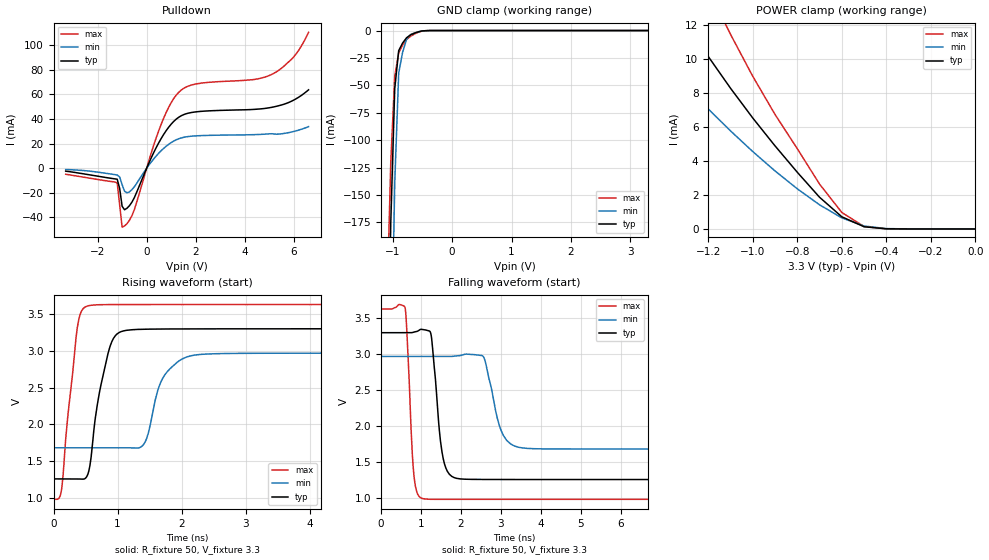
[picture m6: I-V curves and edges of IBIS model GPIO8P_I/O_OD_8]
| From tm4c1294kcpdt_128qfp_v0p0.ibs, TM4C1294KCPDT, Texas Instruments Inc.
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|   Model Cell GPIO8P_I/O_OD_8
[Model]   GPIO8P_I/O_OD_8
Model_type   I/O_open_drain
Polarity   Inverting
Enable   Active-Low
Vinl =  0.8
Vinh =  2
Cref =  15.0000pF
Rref =  100.0000M
Vref =  0V
Vmeas =  1.65
C_comp   5.378567p   4.597605p   6.118031p
[Model Spec]
Vinl   0.8   0.8   0.8
Vinh   2   2   2
[Temperature Range]   25   125   -40
[Voltage Range]   3.3   2.97   3.63
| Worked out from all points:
|   slope of the pulldown table from 0 to 0.495 V, typ, clamps not added: 23.8 ohm
|   GND clamp passes 1 mA (typ) near -0.55 V on its own axis
|   POWER clamp passes 1 mA (typ) near -0.62 V on its own axis
|   rising waveform, R_fixture 50, V_fixture 3.3: 20-80 % time 230ps typ, 276ps min, 176ps max; typ from 1.26 V to 3.3 V
|   falling waveform, R_fixture 50, V_fixture 3.3: 20-80 % time 198ps typ, 327ps min, 129ps max; typ from 3.3 V to 1.26 V
| Nom Voltages:
|   VBAT=3.3, VDDC=1.2, VDD=3.3, GND=0
| Min Voltages:
|   VBAT=2.97, VDDC=1.08, VDD=2.97, GND=0
| Max Voltages:
|   VBAT=3.63, VDDC=1.32, VDD=3.63, GND=0
[POWER_clamp]
|   voltage   I(typ)   I(min)   I(max)
-3.3V     116.1mA    496.8mA    244.3mA
-1.533V   17.14mA    11.87mA    23.97mA
-1.3V     12.14mA    8.433mA    16.92mA
-1.267V   11.48mA    7.98mA     15.99mA
-1.133V   8.919mA    6.212mA    12.36mA
-1.1V     8.296mA    5.781mA    11.47mA
-900mV    4.896mA    3.418mA    6.747mA
-800mV    3.341mA    2.365mA    4.729mA
-700mV    1.867mA    1.423mA    2.643mA
-600mV    716.2uA    650.8uA    969.8uA
-500mV    130.1uA    172.8uA    144.6uA
0V        364.7pA    9.133nA    53.42pA
[Pulldown]
|   voltage   I(typ)   I(min)   I(max)
-3.3V     -2.339mA   -1.013mA   -4.845mA
-1.2V     -8.874mA   -5.43mA    -11.86mA
-1.1V     -16.34mA   -7.084mA   -29.69mA
-1V       -30.87mA   -13.32mA   -47.87mA
-900mV    -33.74mA   -18.66mA   -46.85mA
-500mV    -23.82mA   -14.99mA   -33.55mA
600mV     24.46mA    14.43mA    36.18mA
1.3V      41.39mA    23.95mA    61.62mA
2V        45.85mA    26.35mA    68.5mA
5.1V      49.57mA    28.09mA    76.36mA
6V        55.51mA    29.95mA    90.69mA
6.6V      63.82mA    33.88mA    110.6mA
[GND_clamp]
|   voltage   I(typ)   I(min)   I(max)
-3.3V     -16.39A    -15.37A    -17.22A
-1.1V     -384.9mA   -635.5mA   -255.1mA
-1.033V   -175.3mA   -338.1mA   -120.1mA
-966.7mV  -53.11mA   -139.3mA   -41.82mA
-900mV    -18.35mA   -38.91mA   -20.36mA
-833.3mV  -11.36mA   -19.64mA   -13.17mA
-766.7mV  -6.568mA   -7.874mA   -8.128mA
-700mV    -3.981mA   -3.622mA   -5.248mA
-500mV    -326.7uA   -386.2uA   -372.4uA
-366.7mV  -15.8uA    -32.57uA   -14.68uA
3.3V      364.7pA    3.701uA    29.32pA
[Ramp]
| variable   typ   min   max
dV/dt_f  1.2536972/0.2012073n 0.79277568/0.33071134n   1.62575/0.13201897n
dV/dt_r  1.2600245/0.23437599n 0.89149831/0.39117356n  1.6218591/0.15700656n
R_load = 50
[Rising Waveform]
R_fixture = 50
V_fixture = 3.3
V_fixture_min = 2.97
V_fixture_max = 3.63
|   time   V(typ)   V(min)   V(max)
0s        1.258V     1.681V     982.8mV
129.5ps   1.258V     1.681V     1.135V
390.8ps   1.257V     1.681V     3.413V
576.6ps   1.49V      1.681V     3.618V
866.8ps   3.016V     1.681V     3.629V
1.198ns   3.285V     1.68V      3.63V
1.434ns   3.294V     1.765V     3.63V
1.764ns   3.297V     2.704V     3.63V
2.295ns   3.298V     2.951V     3.63V
20.01ns   3.3V       2.97V      3.63V
[Falling Waveform]
R_fixture = 50
V_fixture = 3.3
V_fixture_min = 2.97
V_fixture_max = 3.63
|   time   V(typ)   V(min)   V(max)
0s        3.3V       2.97V      3.63V
604.5ps   3.3V       2.97V      3.649V
820.3ps   3.308V     2.97V      1.352V
1.056ns   3.343V     2.97V      991.7mV
1.262ns   3.253V     2.97V      983mV
1.552ns   1.568V     2.97V      982.7mV
1.89ns    1.275V     2.978V     982.8mV
2.568ns   1.259V     2.964V     982.8mV
3.541ns   1.258V     1.698V     982.8mV
20.01ns   1.258V     1.681V     982.8mV
